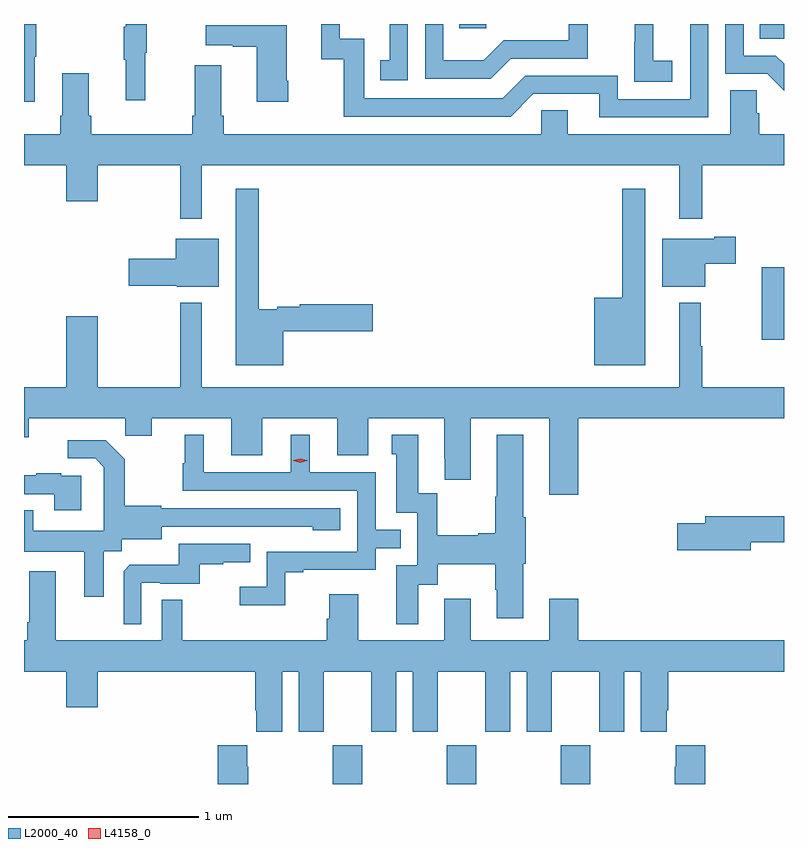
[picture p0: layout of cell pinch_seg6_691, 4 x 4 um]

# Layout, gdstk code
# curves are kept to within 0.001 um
import gdstk
lib = gdstk.Library(unit=1e-6, precision=1e-09)
def R(c, l, rs):  # rectangles x0, y0, x1, y1
    for r in rs: c.add(gdstk.rectangle(r[:2], r[2:], *l))
def A(c, l, x, y, w, h, nx, ny, dx, dy):  # array of equal rectangles
    R(c, l, [(x+i*dx, y+j*dy, x+i*dx+w, y+j*dy+h) for i in range(nx) for j in range(ny)])
def P(c, l, *ps):  # polygons
    for p in ps: c.add(gdstk.Polygon(p, *l))
L2000_40 = (2000, 40)
L4158_0 = (4158, 0)

pinch_seg6_691 = lib.new_cell('pinch_seg6_691')
A(pinch_seg6_691, L2000_40, 382.195, 925.432, 0.155, 0.204, 3, 1, 0.6, 0)
R(pinch_seg6_691, L2000_40, [(384.451,927.771,384.569,928.152), (384.442,929.354,384.569,929.432), (382.861,929.409,383.001,929.432)])
P(pinch_seg6_691, L2000_40, [(380.626,929.259),(380.634,929.259),(380.634,929.432),(380.569,929.432),(380.569,929.022),(380.626,929.022)],
  [(383.131,929.25),(383.535,929.25),(383.535,929.432),(383.436,929.432),(383.436,929.346),(383.094,929.346),(382.99,929.242),(382.776,929.242),(382.776,929.432),(382.68,929.432),(382.68,929.145),(383.026,929.145)],
  [(384.569,929.222),(384.526,929.265),(384.357,929.265),(384.357,929.432),(384.261,929.432),(384.261,929.169),(384.48,929.169),(384.569,929.081)],
  [(383.98,929.239),(383.882,929.239),(383.882,929.432),(383.783,929.432),(383.783,929.335),(383.782,929.335),(383.782,929.129),(383.98,929.129)],
  [(384.171,929.432),(384.075,929.432),(384.075,929.037),(383.694,929.037),(383.694,929.16),(383.208,929.16),(383.088,929.04),(382.359,929.04),(382.359,929.355),(382.23,929.355),(382.23,929.432),(382.133,929.432),(382.133,929.247),(382.251,929.247),(382.251,928.944),(383.13,928.944),(383.25,929.064),(383.597,929.064),(383.597,928.941),(384.171,928.941)],
  [(382.59,929.432),(382.493,929.432),(382.493,929.241),(382.444,929.241),(382.444,929.136),(382.59,929.136)],
  [(381.206,929.28),(381.214,929.28),(381.214,929.432),(381.104,929.432),(381.104,929.417),(381.093,929.417),(381.093,929.243),(381.104,929.243),(381.104,929.031),(381.206,929.031)],
  [(381.96,929.134),(381.952,929.134),(381.952,929.425),(381.525,929.425),(381.525,929.321),(381.668,929.321),(381.668,929.311),(381.794,929.311),(381.794,929.022),(381.96,929.022)],
  [(381.505,928.688),(384.017,928.688),(384.017,928.407),(384.139,928.407),(384.139,928.688),(384.569,928.688),(384.569,928.852),(384.44,928.852),(384.44,928.961),(384.426,928.961),(384.426,929.084),(384.287,929.084),(384.287,928.852),(383.431,928.852),(383.431,928.979),(383.292,928.979),(383.292,928.852),(381.62,928.852),(381.62,928.948),(381.607,928.948),(381.607,929.215),(381.467,929.215),(381.467,928.948),(381.455,928.948),(381.455,928.852),(380.924,928.852),(380.924,928.948),(380.911,928.948),(380.911,929.173),(380.771,929.173),(380.771,928.948),(380.759,928.948),(380.759,928.852),(380.569,928.852),(380.569,928.688),(380.792,928.688),(380.792,928.5),(380.956,928.5),(380.956,928.688),(381.391,928.688),(381.391,928.407),(381.505,928.407)],
  [(383.839,928.564),(383.718,928.564),(383.718,927.991),(383.57,927.991),(383.57,927.635),(383.839,927.635)],
  [(381.934,927.814),(382.405,927.814),(382.405,927.956),(382.02,927.956),(382.02,927.944),(381.902,927.944),(381.902,927.931),(381.805,927.931),(381.805,928.564),(381.683,928.564),(381.683,927.635),(381.934,927.635)],
  [(384.154,928.169),(384.316,928.169),(384.316,928.311),(384.203,928.311),(384.203,928.303),(383.927,928.303),(383.927,928.049),(384.154,928.049)],
  [(381.595,928.303),(381.368,928.303),(381.368,928.197),(381.12,928.197),(381.12,928.055),(381.372,928.055),(381.372,928.049),(381.595,928.049)],
  [(383.486,927.356),(384.569,927.356),(384.569,927.52),(384.139,927.52),(384.139,927.737),(384.131,927.737),(384.131,927.964),(384.017,927.964),(384.017,927.52),(381.505,927.52),(381.505,927.964),(381.391,927.964),(381.391,927.52),(380.956,927.52),(380.956,927.895),(380.792,927.895),(380.792,927.52),(380.569,927.52),(380.569,927.257),(380.593,927.257),(380.593,927.356),(381.103,927.356),(381.103,927.266),(381.241,927.266),(381.241,927.356),(381.659,927.356),(381.659,927.162),(381.823,927.162),(381.823,927.356),(382.217,927.356),(382.217,927.162),(382.381,927.162),(382.381,927.356),(382.781,927.356),(382.781,927.145),(382.784,927.145),(382.784,927.033),(382.921,927.033),(382.921,927.356),(383.333,927.356),(383.333,926.955),(383.486,926.955)],
  [(381.945,926.547),(382.039,926.547),(382.039,926.559),(382.419,926.559),(382.419,926.673),(382.553,926.673),(382.553,926.769),(382.419,926.769),(382.419,927.072),(382.072,927.072),(382.072,927.271),(381.974,927.271),(381.974,927.072),(381.514,927.072),(381.514,927.271),(381.416,927.271),(381.416,927.12),(381.405,927.12),(381.405,926.976),(382.323,926.976),(382.323,926.655),(381.846,926.655),(381.846,926.47),(381.705,926.47),(381.705,926.372),(381.945,926.372)],
  [(382.645,926.482),(382.747,926.482),(382.747,926.588),(383.05,926.588),(383.05,926.454),(383.057,926.454),(383.057,926.304),(383.197,926.304),(383.197,926.592),(383.21,926.592),(383.21,926.836),(383.197,926.836),(383.197,927.271),(383.057,927.271),(383.057,926.945),(383.05,926.945),(383.05,926.753),(382.961,926.753),(382.961,926.74),(382.743,926.74),(382.743,926.963),(382.645,926.963),(382.645,927.271),(382.505,927.271),(382.505,927.168),(382.529,927.168),(382.529,926.859),(382.638,926.859),(382.638,926.583),(382.529,926.583),(382.529,926.274),(382.645,926.274)],
  [(380.989,926.656),(381.084,926.656),(381.084,926.72),(381.295,926.72),(381.295,926.787),(382.089,926.786),(382.089,926.768),(382.234,926.768),(382.234,926.883),(381.291,926.883),(381.291,926.896),(381.099,926.896),(381.099,927.141),(380.999,927.241),(380.799,927.241),(380.799,927.147),(380.943,927.147),(380.99,927.1),(380.99,927.005),(380.988,927.005),(380.988,926.764),(380.617,926.764),(380.617,926.873),(380.569,926.873),(380.569,926.654),(380.885,926.654),(380.885,926.418),(380.989,926.418)],
  [(380.869,927.054),(380.765,927.054),(380.765,927.067),(380.633,927.067),(380.633,927.056),(380.569,927.056),(380.569,926.958),(380.729,926.958),(380.729,926.874),(380.869,926.874)],
  [(384.394,926.704),(384.569,926.704),(384.569,926.84),(384.155,926.84),(384.155,926.804),(384.006,926.804),(384.006,926.662),(384.394,926.662)],
  [(381.186,926.49),(381.286,926.49),(381.286,926.487),(381.494,926.487),(381.494,926.589),(381.617,926.589),(381.617,926.6),(381.761,926.6),(381.761,926.697),(381.384,926.697),(381.384,926.585),(381.125,926.585),(381.093,926.553),(381.093,926.273),(381.186,926.273)],
  [(381.928,926.024),(382.016,926.024),(382.016,925.707),(382.147,925.707),(382.147,926.024),(382.397,926.024),(382.397,925.707),(382.528,925.707),(382.528,926.024),(382.616,926.024),(382.616,925.707),(382.747,925.707),(382.747,926.024),(382.997,926.024),(382.997,925.707),(383.128,925.707),(383.128,926.024),(383.216,926.024),(383.216,925.707),(383.347,925.707),(383.347,926.024),(383.597,926.024),(383.597,925.707),(383.728,925.707),(383.728,926.024),(383.816,926.024),(383.816,925.707),(383.953,925.707),(383.953,925.819),(383.96,925.819),(383.96,926.024),(384.569,926.024),(384.569,926.188),(383.486,926.188),(383.486,926.407),(383.333,926.407),(383.333,926.188),(382.921,926.188),(382.921,926.407),(382.781,926.407),(382.781,926.188),(382.327,926.188),(382.327,926.431),(382.175,926.431),(382.175,926.301),(382.163,926.301),(382.163,926.188),(381.403,926.188),(381.403,926.402),(381.294,926.402),(381.294,926.188),(380.737,926.188),(380.737,926.551),(380.597,926.551),(380.597,926.284),(380.585,926.284),(380.585,926.188),(380.569,926.188),(380.569,926.024),(380.792,926.024),(380.792,925.836),(380.956,925.836),(380.956,926.024),(381.785,926.024),(381.785,925.819),(381.791,925.819),(381.791,925.707),(381.928,925.707)],
  [(381.75,925.523),(381.745,925.523),(381.745,925.636),(381.59,925.636),(381.59,925.432),(381.75,925.432)],
  [(384.155,925.636),(383.999,925.636),(383.999,925.523),(383.995,925.523),(383.995,925.432),(384.155,925.432)])
P(pinch_seg6_691, L4158_0, [(382.023,927.124),(381.987,927.134),(381.987,927.134),(381.987,927.135),(382.023,927.144),(382.059,927.135),(382.059,927.134),(382.059,927.134)])

lib.write_gds('pinch_seg6_691.gds')
